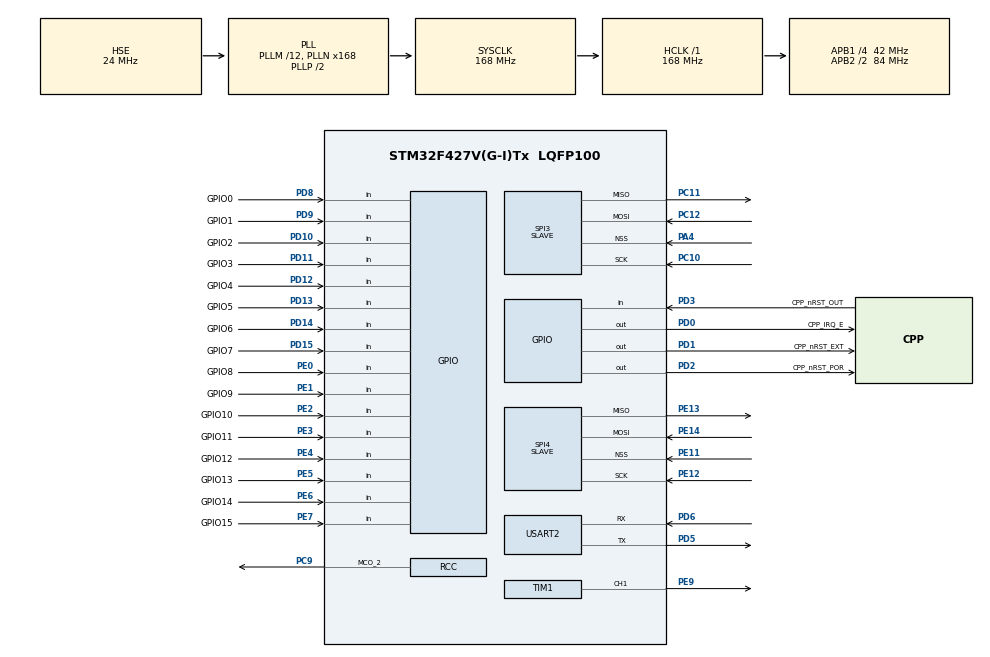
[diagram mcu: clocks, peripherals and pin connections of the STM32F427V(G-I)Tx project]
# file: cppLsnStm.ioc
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Dma.Request0=SPI4_RX
Dma.Request1=SPI3_RX
Dma.SPI3_RX.1.Direction=DMA_PERIPH_TO_MEMORY
Dma.SPI3_RX.1.FIFOMode=DMA_FIFOMODE_DISABLE
Dma.SPI3_RX.1.Instance=DMA1_Stream0
Dma.SPI3_RX.1.MemDataAlignment=DMA_MDATAALIGN_BYTE
Dma.SPI3_RX.1.MemInc=DMA_MINC_ENABLE
Dma.SPI3_RX.1.Mode=DMA_CIRCULAR
Dma.SPI3_RX.1.PeriphDataAlignment=DMA_PDATAALIGN_BYTE
Dma.SPI3_RX.1.PeriphInc=DMA_PINC_DISABLE
Dma.SPI3_RX.1.Priority=DMA_PRIORITY_LOW
Dma.SPI4_RX.0.Direction=DMA_PERIPH_TO_MEMORY
Dma.SPI4_RX.0.FIFOMode=DMA_FIFOMODE_DISABLE
Dma.SPI4_RX.0.Instance=DMA2_Stream0
Dma.SPI4_RX.0.MemDataAlignment=DMA_MDATAALIGN_BYTE
Dma.SPI4_RX.0.MemInc=DMA_MINC_ENABLE
Dma.SPI4_RX.0.Mode=DMA_CIRCULAR
Dma.SPI4_RX.0.PeriphDataAlignment=DMA_PDATAALIGN_BYTE
Dma.SPI4_RX.0.PeriphInc=DMA_PINC_DISABLE
Dma.SPI4_RX.0.Priority=DMA_PRIORITY_HIGH
FREERTOS.Queues01=qData,128,Vector,0,Dynamic,NULL,NULL;qCmdServo,4,ServoControl,0,Dynamic,NULL,NULL
FREERTOS.Tasks01=defaultTask,40,128,StartDefaultTask,Default,NULL,Dynamic,NULL,NULL;tskSpiService,24,256,startTskSpiService,Default,NULL,Dynamic,NULL,NULL;tskServoService,8,128,startTskServoService,Default,NULL,Dynamic,NULL,NULL;tskUsbTxData,24,128,startTskUsbTxData,Default,NULL,Dynamic,NULL,NULL;tskUsbRxCmd,24,128,startTskUsbRxCmd,Default,NULL,Dynamic,NULL,NULL;tskUsbTxCmd,24,256,startTskUsbTxCmd,Default,NULL,Dynamic,NULL,NULL
FREERTOS.configCHECK_FOR_STACK_OVERFLOW=2
FREERTOS.configGENERATE_RUN_TIME_STATS=0
FREERTOS.configTOTAL_HEAP_SIZE=65536
FREERTOS.configUSE_MALLOC_FAILED_HOOK=1
FREERTOS.configUSE_NEWLIB_REENTRANT=1
FREERTOS.configUSE_STATS_FORMATTING_FUNCTIONS=0
Mcu.Family=STM32F4
Mcu.Name=STM32F427V(G-I)Tx
Mcu.Package=LQFP100
NVIC.DMA1_Stream0_IRQn=true\:5\:0\:false\:false\:true\:true\:false\:true
NVIC.DMA2_Stream0_IRQn=true\:5\:0\:false\:false\:true\:true\:false\:true
NVIC.PriorityGroup=NVIC_PRIORITYGROUP_4
NVIC.TIM2_IRQn=true\:0\:0\:false\:false\:true\:false\:true\:true
NVIC.TimeBase=TIM2_IRQn
NVIC.TimeBaseIP=TIM2
PA11.Signal=USB_OTG_FS_DM
PA12.Signal=USB_OTG_FS_DP
PA13.Mode=Serial_Wire
PA13.Signal=SYS_JTMS-SWDIO
PA14.Mode=Serial_Wire
PA14.Signal=SYS_JTCK-SWCLK
PA4.Mode=NSS_Signal_Hard_Input
PA4.Signal=SPI3_NSS
PC10.Mode=Full_Duplex_Slave
PC10.Signal=SPI3_SCK
PC11.Mode=Full_Duplex_Slave
PC11.Signal=SPI3_MISO
PC12.Mode=Full_Duplex_Slave
PC12.Signal=SPI3_MOSI
PC9.Mode=Clock-out-2
PC9.Signal=RCC_MCO_2
PD0.GPIO_Label=CPP_IRQ_E
PD0.GPIO_Speed=GPIO_SPEED_FREQ_VERY_HIGH
PD0.Signal=GPIO_Output
PD1.GPIO_Label=CPP_nRST_EXT
PD1.GPIO_Speed=GPIO_SPEED_FREQ_VERY_HIGH
PD1.PinState=GPIO_PIN_SET
PD1.Signal=GPIO_Output
PD10.GPIO_Label=GPIO2
PD10.GPIO_PuPd=GPIO_PULLDOWN
PD10.Signal=GPIO_Input
PD11.GPIO_Label=GPIO3
PD11.GPIO_PuPd=GPIO_PULLDOWN
PD11.Signal=GPIO_Input
PD12.GPIO_Label=GPIO4
PD12.GPIO_PuPd=GPIO_PULLDOWN
PD12.Signal=GPIO_Input
PD13.GPIO_Label=GPIO5
PD13.GPIO_PuPd=GPIO_PULLDOWN
PD13.Signal=GPIO_Input
PD14.GPIO_Label=GPIO6
PD14.GPIO_PuPd=GPIO_PULLDOWN
PD14.Signal=GPIO_Input
PD15.GPIO_Label=GPIO7
PD15.GPIO_PuPd=GPIO_PULLDOWN
PD15.Signal=GPIO_Input
PD2.GPIO_Label=CPP_nRST_POR
PD2.GPIO_Speed=GPIO_SPEED_FREQ_VERY_HIGH
PD2.Signal=GPIO_Output
PD3.GPIO_Label=CPP_nRST_OUT
PD3.GPIO_PuPd=GPIO_PULLDOWN
PD3.Signal=GPIO_Input
PD5.Mode=Asynchronous
PD5.Signal=USART2_TX
PD6.Mode=Asynchronous
PD6.Signal=USART2_RX
PD8.GPIO_Label=GPIO0
PD8.GPIO_PuPd=GPIO_PULLDOWN
PD8.Signal=GPIO_Input
PD9.GPIO_Label=GPIO1
PD9.GPIO_PuPd=GPIO_PULLDOWN
PD9.Signal=GPIO_Input
PE0.GPIO_Label=GPIO8
PE0.GPIO_PuPd=GPIO_PULLDOWN
PE0.Signal=GPIO_Input
PE1.GPIO_Label=GPIO9
PE1.GPIO_PuPd=GPIO_PULLDOWN
PE1.Signal=GPIO_Input
PE11.Mode=NSS_Signal_Hard_Input
PE11.Signal=SPI4_NSS
PE12.Mode=Full_Duplex_Slave
PE12.Signal=SPI4_SCK
PE13.Mode=Full_Duplex_Slave
PE13.Signal=SPI4_MISO
PE14.Mode=Full_Duplex_Slave
PE14.Signal=SPI4_MOSI
PE2.GPIO_Label=GPIO10
PE2.GPIO_PuPd=GPIO_PULLDOWN
PE2.Signal=GPIO_Input
PE3.GPIO_Label=GPIO11
PE3.GPIO_PuPd=GPIO_PULLDOWN
PE3.Signal=GPIO_Input
PE4.GPIO_Label=GPIO12
PE4.GPIO_PuPd=GPIO_PULLDOWN
PE4.Signal=GPIO_Input
PE5.GPIO_Label=GPIO13
PE5.GPIO_PuPd=GPIO_PULLDOWN
PE5.Signal=GPIO_Input
PE6.GPIO_Label=GPIO14
PE6.GPIO_PuPd=GPIO_PULLDOWN
PE6.Signal=GPIO_Input
PE7.GPIO_Label=GPIO15
PE7.GPIO_PuPd=GPIO_PULLDOWN
PE7.Signal=GPIO_Input
PE9.Signal=S_TIM1_CH1
PH0/OSC_IN.Mode=HSE-External-Oscillator
PH0/OSC_IN.Signal=RCC_OSC_IN
PH1/OSC_OUT.Mode=HSE-External-Oscillator
PH1/OSC_OUT.Signal=RCC_OSC_OUT
ProjectManager.HeapSize=0x400
ProjectManager.StackSize=0x800
ProjectManager.TargetToolchain=STM32CubeIDE
RCC.48MHZClocksFreq_Value=48000000
RCC.AHBFreq_Value=168000000
RCC.APB1CLKDivider=RCC_HCLK_DIV4
RCC.APB1Freq_Value=42000000
RCC.APB1TimFreq_Value=84000000
RCC.APB2CLKDivider=RCC_HCLK_DIV2
RCC.APB2Freq_Value=84000000
RCC.APB2TimFreq_Value=168000000
RCC.CortexFreq_Value=168000000
RCC.HCLKFreq_Value=168000000
RCC.HSE_VALUE=24000000
RCC.HSI_VALUE=16000000
RCC.LSE_VALUE=32768
RCC.PLLM=12
RCC.PLLN=168
RCC.PLLQ=7
RCC.PLLSourceVirtual=RCC_PLLSOURCE_HSE
RCC.RCC_MCODiv2=RCC_MCODIV_2
RCC.SYSCLKFreq_VALUE=168000000
RCC.SYSCLKSource=RCC_SYSCLKSOURCE_PLLCLK
RCC.VCOOutputFreq_Value=336000000
RTC.SynchPrediv=249
SH.S_TIM1_CH1.0=TIM1_CH1,PWM Generation1 CH1
SPI3.Direction=SPI_DIRECTION_2LINES
SPI3.Mode=SPI_MODE_SLAVE
SPI3.VirtualNSS=VM_NSSHARD
SPI3.VirtualType=VM_SLAVE
SPI4.Direction=SPI_DIRECTION_2LINES
SPI4.Mode=SPI_MODE_SLAVE
SPI4.VirtualNSS=VM_NSSHARD
SPI4.VirtualType=VM_SLAVE
TIM1.AutoReloadPreload=TIM_AUTORELOAD_PRELOAD_ENABLE
TIM1.Channel-PWM\ Generation1\ CH1=TIM_CHANNEL_1
TIM1.OCFastMode_PWM-PWM\ Generation1\ CH1=TIM_OCFAST_DISABLE
TIM1.OCMode_PWM-PWM\ Generation1\ CH1=TIM_OCMODE_PWM1
TIM1.Period=59999
TIM1.Prescaler=55
TIM1.Pulse-PWM\ Generation1\ CH1=1499
USART2.VirtualMode=VM_ASYNC
VP_FREERTOS_VS_CMSIS_V2.Mode=CMSIS_V2
VP_RTC_VS_RTC_Activate.Mode=RTC_Enabled
VP_SYS_VS_tim2.Mode=TIM2
VP_TIM1_VS_ClockSourceINT.Mode=Internal
board=custom

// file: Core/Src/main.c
/* USER CODE BEGIN Header */
/**
  ******************************************************************************
  * @file           : main.c
  * @brief          : Main program body
  ******************************************************************************
  * @attention
  *
  * <h2><center>&copy; Copyright (c) 2021 STMicroelectronics.
  * All rights reserved.</center></h2>
  *
  * This software component is licensed by ST under Ultimate Liberty license
  * SLA0044, the "License"; You may not use this file except in compliance with
  * the License. You may obtain a copy of the License at:
  *                             www.st.com/SLA0044
  *
  ******************************************************************************
  */
/* USER CODE END Header */
#include "main.h"
#include "cmsis_os.h"
#include "dma.h"
#include "rtc.h"
#include "spi.h"
#include "tim.h"
#include "usart.h"
#include "gpio.h"

/* USER CODE BEGIN Includes */
#include "usb_device.h"
/* USER CODE END Includes */

void SystemClock_Config(void);
void MX_FREERTOS_Init(void);

int main(void)
{

  /* MCU Configuration--------------------------------------------------------*/

  /* Reset of all peripherals, Initializes the Flash interface and the Systick. */
  HAL_Init();

  /* Configure the system clock */
  SystemClock_Config();

  /* Initialize all configured peripherals */
  MX_GPIO_Init();
  MX_DMA_Init();
  MX_SPI3_Init();
  MX_SPI4_Init();
  MX_TIM1_Init();
  MX_USART2_UART_Init();
  MX_RTC_Init();
  /* USER CODE BEGIN 2 */
  HAL_USBD_Setup();
  usb_init();
  /* USER CODE END 2 */

  /* Init scheduler */
  osKernelInitialize();  /* Call init function for freertos objects (in freertos.c) */
  MX_FREERTOS_Init();
  /* Start scheduler */
  osKernelStart();

  /* We should never get here as control is now taken by the scheduler */
  /* Infinite loop */
  while (1)
  {

  }
}

void SystemClock_Config(void)
{
  RCC_OscInitTypeDef RCC_OscInitStruct = {0};
  RCC_ClkInitTypeDef RCC_ClkInitStruct = {0};
  RCC_PeriphCLKInitTypeDef PeriphClkInitStruct = {0};

  /** Configure the main internal regulator output voltage
  */
  __HAL_RCC_PWR_CLK_ENABLE();
  __HAL_PWR_VOLTAGESCALING_CONFIG(PWR_REGULATOR_VOLTAGE_SCALE1);
  /** Initializes the RCC Oscillators according to the specified parameters
  * in the RCC_OscInitTypeDef structure.
  */
  RCC_OscInitStruct.OscillatorType = RCC_OSCILLATORTYPE_LSI|RCC_OSCILLATORTYPE_HSE;
  RCC_OscInitStruct.HSEState = RCC_HSE_ON;
  RCC_OscInitStruct.LSIState = RCC_LSI_ON;
  RCC_OscInitStruct.PLL.PLLState = RCC_PLL_ON;
  RCC_OscInitStruct.PLL.PLLSource = RCC_PLLSOURCE_HSE;
  RCC_OscInitStruct.PLL.PLLM = 12;
  RCC_OscInitStruct.PLL.PLLN = 168;
  RCC_OscInitStruct.PLL.PLLP = RCC_PLLP_DIV2;
  RCC_OscInitStruct.PLL.PLLQ = 7;
  if (HAL_RCC_OscConfig(&RCC_OscInitStruct) != HAL_OK)
  {
    Error_Handler();
  }
  /** Initializes the CPU, AHB and APB buses clocks
  */
  RCC_ClkInitStruct.ClockType = RCC_CLOCKTYPE_HCLK|RCC_CLOCKTYPE_SYSCLK
                              |RCC_CLOCKTYPE_PCLK1|RCC_CLOCKTYPE_PCLK2;
  RCC_ClkInitStruct.SYSCLKSource = RCC_SYSCLKSOURCE_PLLCLK;
  RCC_ClkInitStruct.AHBCLKDivider = RCC_SYSCLK_DIV1;
  RCC_ClkInitStruct.APB1CLKDivider = RCC_HCLK_DIV4;
  RCC_ClkInitStruct.APB2CLKDivider = RCC_HCLK_DIV2;

  if (HAL_RCC_ClockConfig(&RCC_ClkInitStruct, FLASH_LATENCY_5) != HAL_OK)
  {
    Error_Handler();
  }
  PeriphClkInitStruct.PeriphClockSelection = RCC_PERIPHCLK_RTC;
  PeriphClkInitStruct.RTCClockSelection = RCC_RTCCLKSOURCE_LSI;
  if (HAL_RCCEx_PeriphCLKConfig(&PeriphClkInitStruct) != HAL_OK)
  {
    Error_Handler();
  }
  HAL_RCC_MCOConfig(RCC_MCO2, RCC_MCO2SOURCE_SYSCLK, RCC_MCODIV_2);
}

 /**
  * @brief  Period elapsed callback in non blocking mode
  * @note   This function is called  when TIM2 interrupt took place, inside
  * HAL_TIM_IRQHandler(). It makes a direct call to HAL_IncTick() to increment
  * a global variable "uwTick" used as application time base.
  * @param  htim : TIM handle
  * @retval None
  */
void HAL_TIM_PeriodElapsedCallback(TIM_HandleTypeDef *htim)
{
  if (htim->Instance == TIM2) {
    HAL_IncTick();
  }
}

void Error_Handler(void)
{
  __disable_irq();
  while (1)
  {
  }
}

/************************ (C) COPYRIGHT STMicroelectronics *****END OF FILE****/

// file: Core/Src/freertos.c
/* USER CODE BEGIN Header */
/**
  ******************************************************************************
  * File Name          : freertos.c
  * Description        : Code for freertos applications
  ******************************************************************************
  * @attention
  *
  * <h2><center>&copy; Copyright (c) 2021 STMicroelectronics.
  * All rights reserved.</center></h2>
  *
  * This software component is licensed by ST under Ultimate Liberty license
  * SLA0044, the "License"; You may not use this file except in compliance with
  * the License. You may obtain a copy of the License at:
  *                             www.st.com/SLA0044
  *
  ******************************************************************************
  */
/* USER CODE END Header */

#include "FreeRTOS.h"
#include "task.h"
#include "main.h"
#include "cmsis_os.h"

/* USER CODE BEGIN Includes */
#include "rtc.h"
#include "queue.h"
#include "vector_data.h"
#include "usb_device.h"
#include "stm_ctrl.h"
#include "chip.h"
#include "servo.h"
#include <math.h>
#include <stdio.h>
/* USER CODE END Includes */

/* USER CODE BEGIN PTD */
typedef enum {
  dirNone,
  dirAnticlockwise,
  dirClockwise
} RoatateDir;
/* USER CODE END PTD */

/* USER CODE BEGIN Variables */
static RoatateDir rotateFl = dirNone;
/* USER CODE END Variables */
/* Definitions for defaultTask */
osThreadId_t defaultTaskHandle;
const osThreadAttr_t defaultTask_attributes = {
  .name = "defaultTask",
  .stack_size = 128 * 4,
  .priority = (osPriority_t) osPriorityHigh,
};
/* Definitions for tskSpiService */
osThreadId_t tskSpiServiceHandle;
const osThreadAttr_t tskSpiService_attributes = {
  .name = "tskSpiService",
  .stack_size = 256 * 4,
  .priority = (osPriority_t) osPriorityNormal,
};
/* Definitions for tskServoService */
osThreadId_t tskServoServiceHandle;
const osThreadAttr_t tskServoService_attributes = {
  .name = "tskServoService",
  .stack_size = 128 * 4,
  .priority = (osPriority_t) osPriorityLow,
};
/* Definitions for tskUsbTxData */
osThreadId_t tskUsbTxDataHandle;
const osThreadAttr_t tskUsbTxData_attributes = {
  .name = "tskUsbTxData",
  .stack_size = 128 * 4,
  .priority = (osPriority_t) osPriorityNormal,
};
/* Definitions for tskUsbRxCmd */
osThreadId_t tskUsbRxCmdHandle;
const osThreadAttr_t tskUsbRxCmd_attributes = {
  .name = "tskUsbRxCmd",
  .stack_size = 128 * 4,
  .priority = (osPriority_t) osPriorityNormal,
};
/* Definitions for tskUsbTxCmd */
osThreadId_t tskUsbTxCmdHandle;
const osThreadAttr_t tskUsbTxCmd_attributes = {
  .name = "tskUsbTxCmd",
  .stack_size = 256 * 4,
  .priority = (osPriority_t) osPriorityNormal,
};
/* Definitions for qData */
osMessageQueueId_t qDataHandle;
const osMessageQueueAttr_t qData_attributes = {
  .name = "qData"
};
/* Definitions for qCmdServo */
osMessageQueueId_t qCmdServoHandle;
const osMessageQueueAttr_t qCmdServo_attributes = {
  .name = "qCmdServo"
};

void StartDefaultTask(void *argument);
void startTskSpiService(void *argument);
void startTskServoService(void *argument);
void startTskUsbTxData(void *argument);
void startTskUsbRxCmd(void *argument);
void startTskUsbTxCmd(void *argument);

void MX_FREERTOS_Init(void); /* (MISRA C 2004 rule 8.1) */

/* Hook prototypes */
void vApplicationStackOverflowHook(xTaskHandle xTask, signed char *pcTaskName);
void vApplicationMallocFailedHook(void);

/* USER CODE BEGIN 4 */
void vApplicationStackOverflowHook(xTaskHandle xTask, signed char *pcTaskName)
{
   /* Run time stack overflow checking is performed if
   configCHECK_FOR_STACK_OVERFLOW is defined to 1 or 2. This hook function is
   called if a stack overflow is detected. */
}
/* USER CODE END 4 */

/* USER CODE BEGIN 5 */
void vApplicationMallocFailedHook(void)
{
   /* vApplicationMallocFailedHook() will only be called if
   configUSE_MALLOC_FAILED_HOOK is set to 1 in FreeRTOSConfig.h. It is a hook
   function that will get called if a call to pvPortMalloc() fails.
   pvPortMalloc() is called internally by the kernel whenever a task, queue,
   timer or semaphore is created. It is also called by various parts of the
   demo application. If heap_1.c or heap_2.c are used, then the size of the
   heap available to pvPortMalloc() is defined by configTOTAL_HEAP_SIZE in
   FreeRTOSConfig.h, and the xPortGetFreeHeapSize() API function can be used
   to query the size of free heap space that remains (although it does not
   provide information on how the remaining heap might be fragmented). */
}
/* USER CODE END 5 */

void MX_FREERTOS_Init(void) {

  /* Create the queue(s) */
  /* creation of qData */
  qDataHandle = osMessageQueueNew (128, sizeof(Vector), &qData_attributes);

  /* creation of qCmdServo */
  qCmdServoHandle = osMessageQueueNew (4, sizeof(ServoControl), &qCmdServo_attributes);

  /* Create the thread(s) */
  /* creation of defaultTask */
  defaultTaskHandle = osThreadNew(StartDefaultTask, NULL, &defaultTask_attributes);

  /* creation of tskSpiService */
  tskSpiServiceHandle = osThreadNew(startTskSpiService, NULL, &tskSpiService_attributes);

  /* creation of tskServoService */
  tskServoServiceHandle = osThreadNew(startTskServoService, NULL, &tskServoService_attributes);

  /* creation of tskUsbTxData */
  tskUsbTxDataHandle = osThreadNew(startTskUsbTxData, NULL, &tskUsbTxData_attributes);

  /* creation of tskUsbRxCmd */
  tskUsbRxCmdHandle = osThreadNew(startTskUsbRxCmd, NULL, &tskUsbRxCmd_attributes);

  /* creation of tskUsbTxCmd */
  tskUsbTxCmdHandle = osThreadNew(startTskUsbTxCmd, NULL, &tskUsbTxCmd_attributes);

  /* USER CODE BEGIN RTOS_THREADS */
  vTaskSuspend(tskSpiServiceHandle);
  /* USER CODE END RTOS_THREADS */

}

void StartDefaultTask(void *argument)
{
  /* USER CODE BEGIN StartDefaultTask */
  osDelay (50 / portTICK_PERIOD_MS);
  vTaskResume(tskSpiServiceHandle);

  servo_config();
  chip_config();
  vTaskDelete(NULL);
  /* USER CODE END StartDefaultTask */
}

void startTskSpiService(void *argument)
{
  /* USER CODE BEGIN startTskSpiService */
  for(;;) {
    chip_msg_proc();
    osDelay(100 / portTICK_PERIOD_MS);
  }
  /* USER CODE END startTskSpiService */
}

void startTskServoService(void *argument)
{
  /* USER CODE BEGIN startTskServoService */
  static uint32_t delay = 100 / portTICK_PERIOD_MS;
  float angle = 0;
  float degreesPerSec = 0;
  for(;;) {
    uint32_t startTicks = xTaskGetTickCount() + delay;
    ServoControl ctrl;
    TickType_t tickWait = rotateFl != dirNone ? 0 : portMAX_DELAY;
    if (xQueueReceive(qCmdServoHandle, &ctrl, tickWait) == pdTRUE) {
      if (ctrl.cmd == servoAngle) {
        rotateFl = dirNone;
        servo_set_angle(ctrl.val);
      }
      else if (ctrl.cmd == servoRotate) {
        rotateFl = rotateFl == dirNone ? dirAnticlockwise : rotateFl;
        degreesPerSec = fabsf(ctrl.val);
        angle = servo_angle();
        continue;
      }
    }

    if (rotateFl != dirNone) {
      const int8_t rotateCoef = rotateFl == dirAnticlockwise ? 1 : -1;
      double degreesPerFrame = degreesPerSec / 1000.0 * delay;
      double mod360 = fmod(angle + rotateCoef * degreesPerFrame, 360);
      if (mod360 > 270.0 && rotateFl == dirAnticlockwise) {
        rotateFl = dirClockwise;
        angle = 270.0;
      }
      else if (mod360 < 0.0 && rotateFl == dirClockwise) {
        rotateFl = dirAnticlockwise;
        angle = 0.0;
      }
      else {
        angle = mod360;
      }
      servo_set_angle(angle);
      osDelayUntil(startTicks);
    }
  }
  /* USER CODE END startTskServoService */
}

void startTskUsbTxData(void *argument)
{
  /* USER CODE BEGIN startTskUsbTxData */
  for(;;) {
    Vector txData;
    xQueueReceive(qDataHandle, &txData, portMAX_DELAY);
    usb_send_data(txData.data, txData.size);
    vector_free(&txData);

    while (xQueueReceive(qDataHandle, &txData, 0) == pdTRUE) {
      usb_send_data(txData.data, txData.size);
      vector_free(&txData);
    }

    osDelay(500 / portTICK_PERIOD_MS);
  }
  /* USER CODE END startTskUsbTxData */
}

void startTskUsbRxCmd(void *argument)
{
  /* USER CODE BEGIN startTskUsbRxCmd */
  for(;;) {
    ctrl_cmd_proc();
    osDelay(100 / portTICK_PERIOD_MS);
  }
  /* USER CODE END startTskUsbRxCmd */
}

void startTskUsbTxCmd(void *argument)
{
  /* USER CODE BEGIN startTskUsbTxCmd */
  char cmdResponse[64];
  RTC_TimeTypeDef time;
  for(;;) {
    HAL_RTC_GetTime(&hrtc, &time, RTC_FORMAT_BIN);
    HAL_RTC_GetDate(&hrtc, NULL, RTC_FORMAT_BIN);
    size_t seconds = time.Hours * 3600 + time.Minutes * 60 + time.Seconds;
    int8_t reconfigEnable = chip_reconfig_enable() == chipReconfNo ? 0 : 1;
    int8_t mode = rotateFl == dirNone ? 0 : 1;
    int lenCmd = snprintf(cmdResponse, sizeof(cmdResponse),
                          "#time=%u\r\n#angle=%3.2f\r\n#autoreset=%1d\r\n#mode=%1d\r\n",
                          seconds, servo_angle(), reconfigEnable, mode);
    usb_send_cmd((uint8_t*)cmdResponse, lenCmd);
    osDelay(500 / portTICK_PERIOD_MS);
  }
  /* USER CODE END startTskUsbTxCmd */
}

/************************ (C) COPYRIGHT STMicroelectronics *****END OF FILE****/
